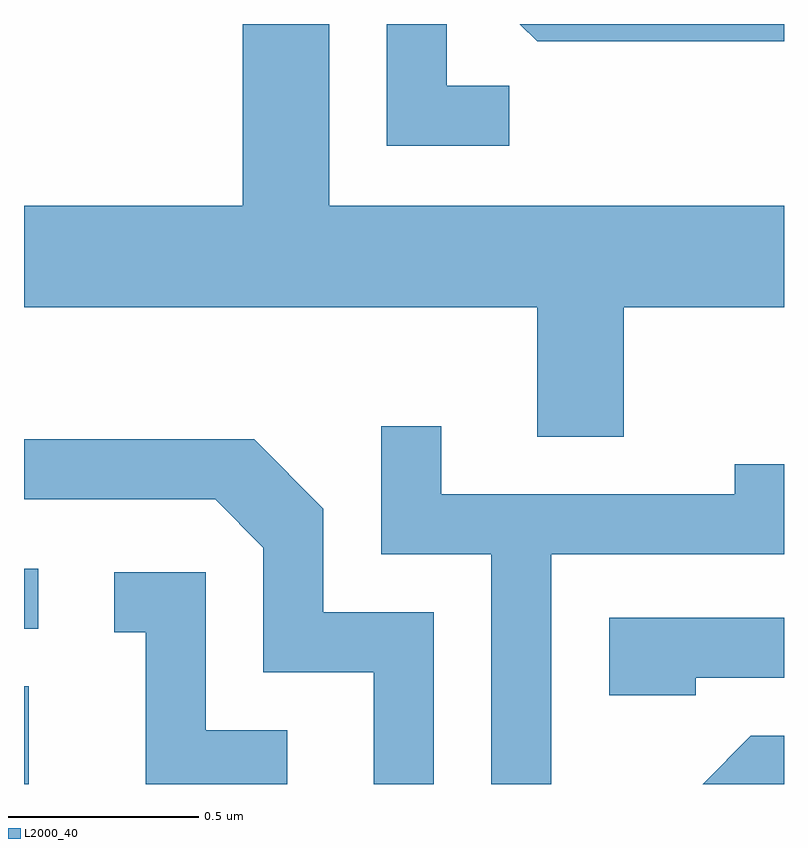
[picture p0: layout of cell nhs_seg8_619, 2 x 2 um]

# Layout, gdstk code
import gdstk
lib = gdstk.Library(unit=1e-6, precision=1e-09)
def R(c, l, rs):  # rectangles x0, y0, x1, y1
    for r in rs: c.add(gdstk.rectangle(r[:2], r[2:], *l))
def P(c, l, *ps):  # polygons
    for p in ps: c.add(gdstk.Polygon(p, *l))
L2000_40 = (2000, 40)

nhs_seg8_619 = lib.new_cell('nhs_seg8_619')
R(nhs_seg8_619, L2000_40, [(189.611,1877.342,189.624,1877.599), (189.611,1877.751,189.648,1877.909)])
P(nhs_seg8_619, L2000_40, [(191.189,1878.596),(191.611,1878.596),(191.611,1878.864),(190.414,1878.864),(190.414,1879.342),(190.186,1879.342),(190.186,1878.864),(189.611,1878.864),(189.611,1878.596),(190.961,1878.596),(190.961,1878.256),(191.189,1878.256)],
  [(191.611,1879.342),(190.916,1879.342),(190.962,1879.296),(191.611,1879.296)],
  [(190.888,1879.179),(190.724,1879.179),(190.724,1879.342),(190.566,1879.342),(190.566,1879.021),(190.888,1879.021)],
  [(190.999,1877.946),(191.611,1877.946),(191.611,1878.183),(191.481,1878.183),(191.481,1878.104),(190.709,1878.104),(190.709,1878.283),(190.551,1878.283),(190.551,1877.946),(190.841,1877.946),(190.841,1877.342),(190.999,1877.342)],
  [(190.689,1877.794),(190.399,1877.794),(190.399,1878.067),(190.217,1878.249),(189.611,1878.249),(189.611,1878.091),(190.114,1878.091),(190.241,1877.964),(190.241,1877.636),(190.531,1877.636),(190.531,1877.342),(190.689,1877.342)],
  [(190.304,1877.484),(190.089,1877.484),(190.089,1877.899),(189.848,1877.899),(189.848,1877.741),(189.931,1877.741),(189.931,1877.342),(190.304,1877.342)],
  [(191.379,1877.621),(191.611,1877.621),(191.611,1877.779),(191.151,1877.779),(191.151,1877.576),(191.379,1877.576)],
  [(191.611,1877.469),(191.524,1877.469),(191.397,1877.342),(191.611,1877.342)])

lib.write_gds('nhs_seg8_619.gds')
